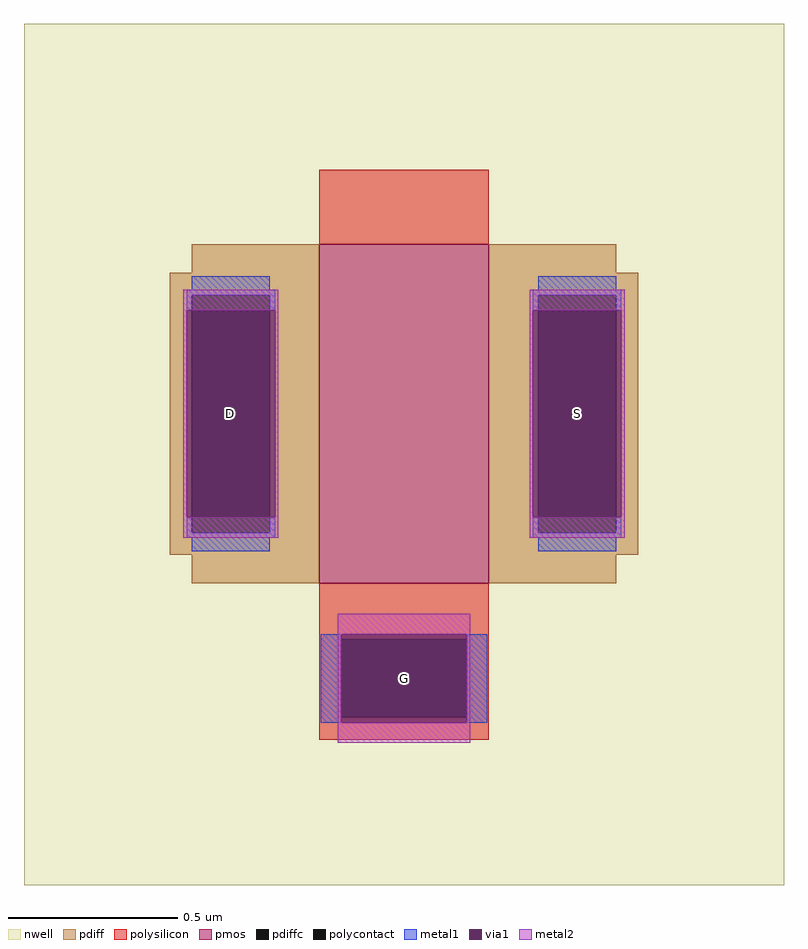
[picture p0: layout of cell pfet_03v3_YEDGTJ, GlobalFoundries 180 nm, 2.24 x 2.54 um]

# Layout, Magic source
magic
tech gf180mcuD
magscale 1 10
<< nwell >>
rect -224 -254 224 254
<< pmos >>
rect -50 -76 50 124
<< pdiff >>
rect -125 107 -50 124
rect -138 94 -50 107
rect -138 -46 -125 94
rect -79 -46 -50 94
rect -138 -59 -50 -46
rect -125 -76 -50 -59
rect 50 107 125 124
rect 50 94 138 107
rect 50 -46 79 94
rect 125 -46 138 94
rect 50 -59 138 -46
rect 50 -76 125 -59
<< pdiffc >>
rect -125 -46 -79 94
rect 79 -46 125 94
<< polysilicon >>
rect -50 124 50 168
rect -50 -109 50 -76
rect -50 -155 -37 -109
rect 37 -155 50 -109
rect -50 -168 50 -155
<< polycontact >>
rect -37 -155 37 -109
<< metal1 >>
rect -125 97 -79 105
rect 79 97 125 105
rect -128 94 -76 97
rect -128 85 -125 94
rect -79 85 -76 94
rect -128 -46 -125 -37
rect -79 -46 -76 -37
rect -128 -49 -76 -46
rect 76 94 128 97
rect 76 85 79 94
rect 125 85 128 94
rect 76 -46 79 -37
rect 125 -46 128 -37
rect 76 -49 128 -46
rect -125 -57 -79 -49
rect 79 -57 125 -49
rect -49 -158 -37 -106
rect 37 -158 49 -106
<< via1 >>
rect -128 -37 -125 85
rect -125 -37 -79 85
rect -79 -37 -76 85
rect 76 -37 79 85
rect 79 -37 125 85
rect 125 -37 128 85
rect -37 -109 37 -106
rect -37 -155 37 -109
rect -37 -158 37 -155
<< metal2 >>
rect -130 85 -74 97
rect -130 -37 -128 85
rect -76 -37 -74 85
rect -130 -49 -74 -37
rect 74 85 130 97
rect 74 -37 76 85
rect 128 -37 130 85
rect 74 -49 130 -37
rect -39 -106 39 -94
rect -39 -158 -37 -106
rect 37 -158 39 -106
rect -39 -170 39 -158
<< labels >>
rlabel pdiffc -102 24 -102 24 0 D
port 1 nsew
rlabel pdiffc 102 24 102 24 0 S
port 2 nsew
rlabel polycontact 0 -132 0 -132 0 G
port 3 nsew
<< properties >>
string gencell pfet_03v3
string library gf180mcu
string parameters w 1.0 l 0.5 m 1 nf 1 diffcov 80 polycov 100 guard 0 glc 0 grc 0 gtc 0 gbc 0 tbcov 100 rlcov 100 topc 0 botc 1 poverlap 0 doverlap 1 lmin 0.5 wmin 0.3 class mosfet full_metal 0 viasrc 70 viadrn 70 viagate 100 viagb 0 viagr 0 viagl 0 viagt 0 doports 1 compatible {pfet_03v3 pfet_05v0 pfet_06v0}
<< end >>
